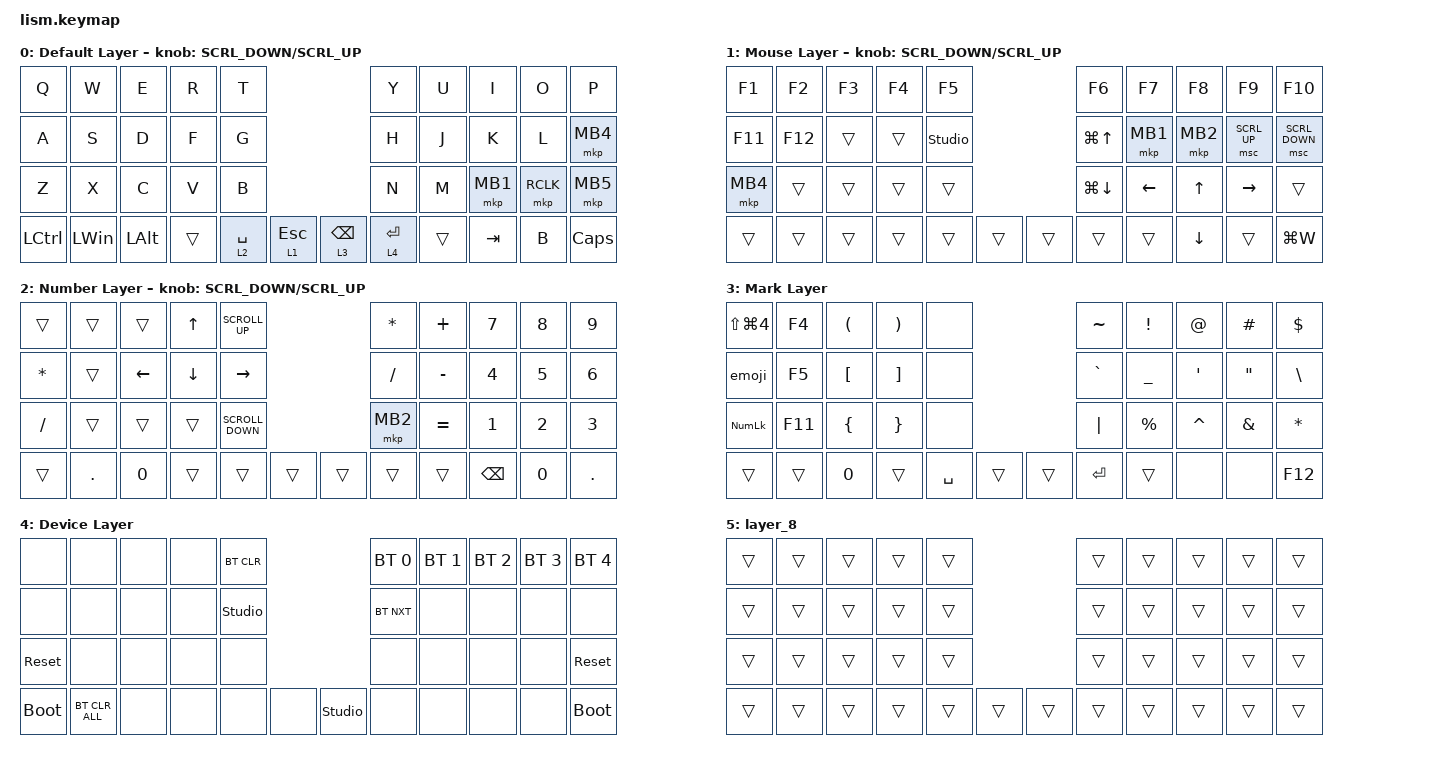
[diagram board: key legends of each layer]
#define ZMK_POINTING_DEFAULT_SCRL_VAL 200

#include <dt-bindings/zmk/mouse.h>
#include <behaviors.dtsi>
#include <dt-bindings/zmk/bt.h>
#include <dt-bindings/zmk/keys.h>
#include <dt-bindings/zmk/pointing.h>

&mt {
    tapping-term-ms = <300>;
    flavor = "balanced";
};

&lt { quick-tap-ms = <300>; };

/ {
    macros {
        emoji: emoji_macro {
            compatible = "zmk,behavior-macro";
            label = "EMOJI";
            #binding-cells = <0>;
            bindings =
                <&macro_press>,
                <&kp CAPSLOCK>,
                <&macro_tap>,
                <&kp E>,
                <&macro_release>,
                <&kp CAPSLOCK>;
        };
    };

    behaviors {
        encoder_msc: sensor_rotate_msc {
            compatible = "zmk,behavior-sensor-rotate-var";
            #sensor-binding-cells = <2>;
            bindings = <&msc>, <&msc>;

            tap-ms = <20>;
        };

        encoder_kp: sensor_rotate_kp {
            compatible = "zmk,behavior-sensor-rotate-var";
            #sensor-binding-cells = <2>;
            bindings = <&kp>, <&kp>;
        };
    };

    keymap {
        compatible = "zmk,keymap";

        default_layer {
            display-name = "Default Layer";
            bindings = <
&kp Q             &kp W         &kp E         &kp R   &kp T                                      &kp Y        &kp U   &kp I     &kp O      &kp P
&kp A             &kp S         &kp D         &kp F   &kp G                                      &kp H        &kp J   &kp K     &kp L      &mkp MB4
&kp Z             &kp X         &kp C         &kp V   &kp B                                      &kp N        &kp M   &mkp MB1  &mkp RCLK  &mkp MB5
&kp LEFT_CONTROL  &kp LEFT_WIN  &kp LEFT_ALT  &trans  &lt 2 SPACE  &lt 1 ESC    &lt 3 BACKSPACE  &lt 4 ENTER  &trans  &kp TAB   &kp B      &kp CAPS
            >;

            sensor-bindings = <&encoder_msc SCRL_DOWN SCRL_UP>;
        };

        layer_1 {
            display-name = "Mouse Layer";
            bindings = <
&kp F1    &kp F2   &kp F3  &kp F4  &kp F5                            &kp F6        &kp F7    &kp F8    &kp F9        &kp F10
&kp F11   &kp F12  &trans  &trans  &studio_unlock                    &kp LG(UP)    &mkp MB1  &mkp MB2  &msc SCRL_UP  &msc SCRL_DOWN
&mkp MB4  &trans   &trans  &trans  &trans                            &kp LG(DOWN)  &kp LEFT  &kp UP    &kp RIGHT     &trans
&trans    &trans   &trans  &trans  &trans          &trans    &trans  &trans        &trans    &kp DOWN  &trans        &kp LG(W)
            >;

            sensor-bindings = <&encoder_msc SCRL_DOWN SCRL_UP>;
        };

        layer_2 {
            display-name = "Number Layer";
            bindings = <
&trans        &trans   &trans        &kp UP_ARROW  &kp K_SCROLL_UP                      &kp ASTRK  &kp PLUS   &kp N7         &kp N8        &kp N9
&kp ASTERISK  &trans   &kp LEFT      &kp DOWN      &kp RIGHT                            &kp SLASH  &kp MINUS  &kp NUMBER_4   &kp N5        &kp NUMBER_6
&kp SLASH     &trans   &trans        &trans        &kp K_SCROLL_DOWN                    &mkp MB2   &kp EQUAL  &kp NUMBER_1   &kp NUMBER_2  &kp NUMBER_3
&trans        &kp DOT  &kp NUMBER_0  &trans        &trans             &trans    &trans  &trans     &trans     &kp BACKSPACE  &kp N0        &kp PERIOD
            >;

            sensor-bindings = <&encoder_msc SCRL_DOWN SCRL_UP>;
        };

        layer_3 {
            display-name = "Mark Layer";
            bindings = <
&kp LS(LG(N4))  &kp F4   &kp LEFT_PARENTHESIS  &kp RIGHT_PARENTHESIS  &none                        &kp TILDE  &kp EXCLAMATION  &kp AT_SIGN       &kp HASH           &kp DOLLAR
&emoji          &kp F5   &kp LEFT_BRACKET      &kp RIGHT_BRACKET      &none                        &kp GRAVE  &kp UNDER        &kp SINGLE_QUOTE  &kp DOUBLE_QUOTES  &kp BACKSLASH
&kp KP_NUMLOCK  &kp F11  &kp LEFT_BRACE        &kp RIGHT_BRACE        &none                        &kp PIPE   &kp PERCENT      &kp CARET         &kp AMPERSAND      &kp ASTERISK
&trans          &trans   &kp NUMBER_0          &trans                 &kp SPACE  &trans    &trans  &kp ENTER  &trans           &none             &none              &kp F12
            >;
        };

        layer_4 {
            display-name = "Device Layer";
            bindings = <
&none        &none           &none  &none  &bt BT_CLR                               &bt BT_SEL 0  &bt BT_SEL 1  &bt BT_SEL 2  &bt BT_SEL 3  &bt BT_SEL 4
&none        &none           &none  &none  &studio_unlock                           &bt BT_NXT    &none         &none         &none         &none
&sys_reset   &none           &none  &none  &none                                    &none         &none         &none         &none         &sys_reset
&bootloader  &bt BT_CLR_ALL  &none  &none  &none           &none    &studio_unlock  &none         &none         &none         &none         &bootloader
            >;
        };

        layer_5 {
            status = "reserved";
            display-name = "Brank Layer";
            bindings = <
&trans  &trans  &trans  &trans  &trans                    &trans  &trans  &trans  &trans  &trans
&trans  &trans  &trans  &trans  &trans                    &trans  &trans  &trans  &trans  &trans
&trans  &trans  &trans  &trans  &trans                    &trans  &trans  &trans  &trans  &trans
&trans  &trans  &trans  &trans  &trans  &trans    &trans  &trans  &trans  &trans  &trans  &trans
            >;
        };

        layer_6 {
            status = "reserved";
            display-name = "Brank Layer";
            bindings = <
&trans  &trans  &trans  &trans  &trans                    &trans  &trans  &trans  &trans  &trans
&trans  &trans  &trans  &trans  &trans                    &trans  &trans  &trans  &trans  &trans
&trans  &trans  &trans  &trans  &trans                    &trans  &trans  &trans  &trans  &trans
&trans  &trans  &trans  &trans  &trans  &trans    &trans  &trans  &trans  &trans  &trans  &trans
            >;
        };

        layer_7 {
            status = "reserved";
            display-name = "Brank Layer";
            bindings = <
&trans  &trans  &trans  &trans  &trans                    &trans  &trans  &trans  &trans  &trans
&trans  &trans  &trans  &trans  &trans                    &trans  &trans  &trans  &trans  &trans
&trans  &trans  &trans  &trans  &trans                    &trans  &trans  &trans  &trans  &trans
&trans  &trans  &trans  &trans  &trans  &trans    &trans  &trans  &trans  &trans  &trans  &trans
            >;
        };

        layer_8 {
            bindings = <
&trans  &trans  &trans  &trans  &trans                    &trans  &trans  &trans  &trans  &trans
&trans  &trans  &trans  &trans  &trans                    &trans  &trans  &trans  &trans  &trans
&trans  &trans  &trans  &trans  &trans                    &trans  &trans  &trans  &trans  &trans
&trans  &trans  &trans  &trans  &trans  &trans    &trans  &trans  &trans  &trans  &trans  &trans
            >;
        };
    };
};
